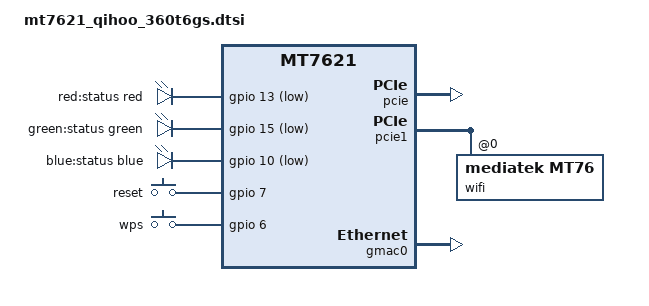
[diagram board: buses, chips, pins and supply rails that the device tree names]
// SPDX-License-Identifier: GPL-2.0-or-later OR MIT

#include "mt7621.dtsi"

#include <dt-bindings/gpio/gpio.h>
#include <dt-bindings/input/input.h>
#include <dt-bindings/leds/common.h>

/ {
	aliases {
		led-boot = &led_status_red;
		led-failsafe = &led_status_blue;
		led-running = &led_status_blue;
		led-upgrade = &led_status_red;
	};

	chosen {
		bootargs = "console=ttyS0,115200";
		bootargs-override = "console=ttyS0,115200";
	};

	leds {
		compatible = "gpio-leds";

		led_status_red: sys_red {
			label = "red:status";
			color = <LED_COLOR_ID_RED>;
			function = LED_FUNCTION_STATUS;
			gpios = <&gpio 13 GPIO_ACTIVE_LOW>;
		};

		led_status_green: sys_green {
			label = "green:status";
			color = <LED_COLOR_ID_GREEN>;
			function = LED_FUNCTION_STATUS;
			gpios = <&gpio 15 GPIO_ACTIVE_LOW>;
		};

		led_status_blue: sys_blue {
			label = "blue:status";
			color = <LED_COLOR_ID_BLUE>;
			function = LED_FUNCTION_STATUS;
			gpios = <&gpio 10 GPIO_ACTIVE_LOW>;
		};
	};

	keys {
		compatible = "gpio-keys";

		reset {
			label = "reset";
			gpios = <&gpio 7 GPIO_ACTIVE_HIGH>;
			linux,code = <KEY_RESTART>;
		};

		wps {
			label = "wps";
			gpios = <&gpio 6 GPIO_ACTIVE_HIGH>;
			linux,code = <KEY_WPS_BUTTON>;
		};
	};
};

&pcie {
	status = "okay";
};

&pcie1 {
	wifi@0,0 {
		compatible = "mediatek,mt76";
		reg = <0x0000 0 0 0 0>;
		mediatek,mtd-eeprom = <&factory 0x0>;
		mediatek,disable-radar-background;
	};
};

&gmac0 {
	status = "okay";
};

&hnat {
	mtketh-wan = "eth1";
	mtketh-ppd = "eth0";
	mtketh-lan = "eth0";
	mtketh-max-gmac = <2>;
	/delete-property/ mtkdsa-wan-port;
};

&switch0 {
	status = "disabled";
};

&state_default {
	gpio {
		groups = "jtag", "uart3", "wdt";
		function = "gpio";
	};
};
